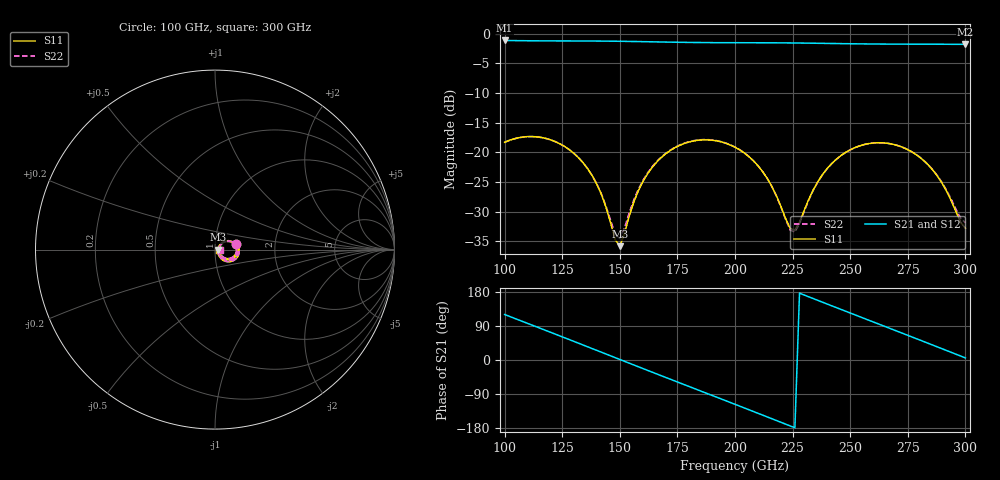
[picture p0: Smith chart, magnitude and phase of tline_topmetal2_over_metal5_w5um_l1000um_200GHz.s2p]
#  GHZ S DB R 50
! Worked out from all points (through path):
!   101 points, 100 GHz to 300 GHz, reference 50 ohm
!   highest |S21| = -1.15 dB at 100 GHz (marker M1); lowest = -1.8 dB at 300 GHz (marker M2)
!   group delay of S21, straight-line fit = 6.59 ps
!   lowest |S11| = -35.8 dB at 150 GHz (marker M3), VSWR 1.03, Z = 51.6 + j0.00589 ohm
!   |S11| at or under -10 dB: start of sweep to end of sweep
!   |S22| runs from -34.5 to -17.4 dB; largest |S21 - S12| = 1e-13
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100  -18.33 15.9  -1.15 120.1  -1.15 120.1  -18.33 16.1
108  -17.43 -0.2  -1.20 101.3  -1.20 101.3  -17.44 0.2
116  -17.51 -16.5  -1.22 82.4  -1.22 82.4  -17.52 -16.0
124  -18.57 -32.5  -1.23 63.5  -1.23 63.5  -18.58 -31.8
134  -21.74 -50.7  -1.24 39.7  -1.24 39.7  -21.74 -49.3
142  -27.11 -58.2  -1.26 20.6  -1.26 20.6  -27.01 -55.3
148  -34.75 -31.6  -1.28 6.2  -1.28 6.2  -33.83 -27.2
150  -35.83 0.2  -1.29 1.4  -1.29 1.4  -34.54 0.5
158  -26.53 45.4  -1.34 -17.7  -1.34 -17.7  -26.28 42.5
168  -20.89 33.5  -1.41 -41.5  -1.41 -41.5  -20.80 31.7
184  -17.97 3.1  -1.50 -79.2  -1.50 -79.2  -17.93 1.8
200  -19.15 -27.9  -1.53 -116.9  -1.53 -116.9  -19.12 -29.1
214  -24.42 -47.9  -1.55 -150.2  -1.55 -150.2  -24.42 -49.4
224  -32.86 -17.7  -1.57 -174.1  -1.57 -174.1  -33.14 -19.5
226  -33.12 4.2  -1.58 -178.9  -1.58 -178.9  -33.46 3.5
234  -26.31 40.7  -1.62 162.0  -1.62 162.0  -26.39 41.0
242  -21.90 34.7  -1.66 143.0  -1.66 143.0  -21.92 34.7
252  -19.23 18.2  -1.72 119.3  -1.72 119.3  -19.23 18.1
268  -18.61 -12.0  -1.77 81.6  -1.77 81.6  -18.61 -12.0
276  -19.77 -26.6  -1.78 62.7  -1.78 62.7  -19.75 -26.3
286  -23.07 -41.3  -1.79 38.9  -1.79 38.9  -23.02 -40.4
300  -32.82 -5.0  -1.82 5.5  -1.82 5.5  -31.89 -4.6
